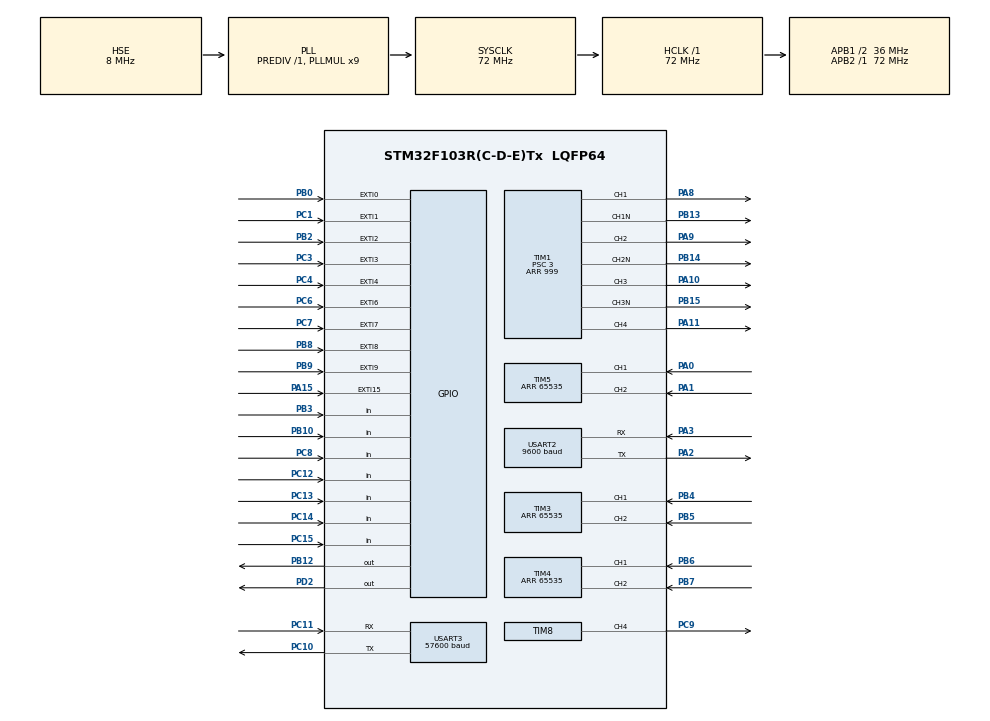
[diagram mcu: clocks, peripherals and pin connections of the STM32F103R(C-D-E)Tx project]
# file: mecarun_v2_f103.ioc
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Dma.Request0=USART2_RX
Dma.Request1=USART2_TX
Dma.Request2=USART3_RX
Dma.USART2_RX.0.Direction=DMA_PERIPH_TO_MEMORY
Dma.USART2_RX.0.Instance=DMA1_Channel6
Dma.USART2_RX.0.MemDataAlignment=DMA_MDATAALIGN_BYTE
Dma.USART2_RX.0.MemInc=DMA_MINC_ENABLE
Dma.USART2_RX.0.Mode=DMA_NORMAL
Dma.USART2_RX.0.PeriphDataAlignment=DMA_PDATAALIGN_BYTE
Dma.USART2_RX.0.PeriphInc=DMA_PINC_DISABLE
Dma.USART2_RX.0.Priority=DMA_PRIORITY_LOW
Dma.USART2_TX.1.Direction=DMA_MEMORY_TO_PERIPH
Dma.USART2_TX.1.Instance=DMA1_Channel7
Dma.USART2_TX.1.MemDataAlignment=DMA_MDATAALIGN_BYTE
Dma.USART2_TX.1.MemInc=DMA_MINC_ENABLE
Dma.USART2_TX.1.Mode=DMA_NORMAL
Dma.USART2_TX.1.PeriphDataAlignment=DMA_PDATAALIGN_BYTE
Dma.USART2_TX.1.PeriphInc=DMA_PINC_DISABLE
Dma.USART2_TX.1.Priority=DMA_PRIORITY_LOW
Dma.USART3_RX.2.Direction=DMA_PERIPH_TO_MEMORY
Dma.USART3_RX.2.Instance=DMA1_Channel3
Dma.USART3_RX.2.MemDataAlignment=DMA_MDATAALIGN_BYTE
Dma.USART3_RX.2.MemInc=DMA_MINC_ENABLE
Dma.USART3_RX.2.Mode=DMA_NORMAL
Dma.USART3_RX.2.PeriphDataAlignment=DMA_PDATAALIGN_BYTE
Dma.USART3_RX.2.PeriphInc=DMA_PINC_DISABLE
Dma.USART3_RX.2.Priority=DMA_PRIORITY_LOW
Mcu.Family=STM32F1
Mcu.Name=STM32F103R(C-D-E)Tx
Mcu.Package=LQFP64
NVIC.DMA1_Channel3_IRQn=true\:0\:0\:false\:false\:true\:false\:true
NVIC.DMA1_Channel6_IRQn=true\:0\:0\:false\:false\:true\:false\:true
NVIC.DMA1_Channel7_IRQn=true\:0\:0\:false\:false\:true\:false\:true
NVIC.EXTI0_IRQn=true\:0\:0\:false\:false\:true\:true\:true
NVIC.EXTI15_10_IRQn=true\:5\:0\:true\:false\:false\:true\:true
NVIC.EXTI1_IRQn=true\:0\:0\:false\:false\:true\:true\:true
NVIC.EXTI2_IRQn=true\:0\:0\:false\:false\:false\:true\:true
NVIC.EXTI3_IRQn=true\:0\:0\:false\:false\:true\:true\:true
NVIC.EXTI4_IRQn=true\:0\:0\:false\:false\:true\:true\:true
NVIC.EXTI9_5_IRQn=true\:0\:0\:false\:false\:true\:true\:true
NVIC.PriorityGroup=NVIC_PRIORITYGROUP_4
PA0-WKUP.Signal=S_TIM5_CH1
PA1.Signal=S_TIM5_CH2
PA10.GPIO_Speed=GPIO_SPEED_FREQ_HIGH
PA10.Signal=S_TIM1_CH3
PA11.GPIO_Speed=GPIO_SPEED_FREQ_HIGH
PA11.Signal=S_TIM1_CH4
PA13.Mode=Serial_Wire
PA13.Signal=SYS_JTMS-SWDIO
PA14.Mode=Serial_Wire
PA14.Signal=SYS_JTCK-SWCLK
PA15.GPIO_ModeDefaultEXTI=GPIO_MODE_IT_RISING_FALLING
PA15.Signal=GPXTI15
PA2.Mode=Asynchronous
PA2.Signal=USART2_TX
PA3.GPIO_PuPd=GPIO_PULLUP
PA3.Mode=Asynchronous
PA3.Signal=USART2_RX
PA8.GPIO_Speed=GPIO_SPEED_FREQ_HIGH
PA8.Signal=S_TIM1_CH1
PA9.GPIO_Speed=GPIO_SPEED_FREQ_HIGH
PA9.Signal=S_TIM1_CH2
PB0.Signal=GPXTI0
PB10.Signal=GPIO_Input
PB12.PinState=GPIO_PIN_RESET
PB12.Signal=GPIO_Output
PB13.GPIO_Speed=GPIO_SPEED_FREQ_HIGH
PB13.Mode=PWM Generation1 CH1 CH1N
PB13.Signal=TIM1_CH1N
PB14.GPIO_Speed=GPIO_SPEED_FREQ_HIGH
PB14.Mode=PWM Generation2 CH2 CH2N
PB14.Signal=TIM1_CH2N
PB15.GPIO_Speed=GPIO_SPEED_FREQ_HIGH
PB15.Mode=PWM Generation3 CH3 CH3N
PB15.Signal=TIM1_CH3N
PB2.GPIO_ModeDefaultEXTI=GPIO_MODE_IT_RISING_FALLING
PB2.Signal=GPXTI2
PB3.Signal=GPIO_Input
PB4.Signal=S_TIM3_CH1
PB5.Signal=S_TIM3_CH2
PB6.Signal=S_TIM4_CH1
PB7.Signal=S_TIM4_CH2
PB8.Signal=GPXTI8
PB9.Signal=GPXTI9
PC1.Signal=GPXTI1
PC10.Mode=Asynchronous
PC10.Signal=USART3_TX
PC11.Mode=Asynchronous
PC11.Signal=USART3_RX
PC12.Signal=GPIO_Input
PC13-TAMPER-RTC.Signal=GPIO_Input
PC14-OSC32_IN.Signal=GPIO_Input
PC15-OSC32_OUT.Signal=GPIO_Input
PC3.Signal=GPXTI3
PC4.Signal=GPXTI4
PC6.Signal=GPXTI6
PC7.Signal=GPXTI7
PC8.Signal=GPIO_Input
PC9.Signal=S_TIM8_CH4
PD0-OSC_IN.Mode=HSE-External-Oscillator
PD0-OSC_IN.Signal=RCC_OSC_IN
PD1-OSC_OUT.Mode=HSE-External-Oscillator
PD1-OSC_OUT.Signal=RCC_OSC_OUT
PD2.Signal=GPIO_Output
ProjectManager.HeapSize=0x200
ProjectManager.StackSize=0x400
ProjectManager.TargetToolchain=MDK-ARM V5
RCC.ADCPresc=RCC_ADCPCLK2_DIV6
RCC.AHBFreq_Value=72000000
RCC.APB1CLKDivider=RCC_HCLK_DIV2
RCC.APB1Freq_Value=36000000
RCC.APB1TimFreq_Value=72000000
RCC.APB2Freq_Value=72000000
RCC.APB2TimFreq_Value=72000000
RCC.HCLKFreq_Value=72000000
RCC.PLLMUL=RCC_PLL_MUL9
RCC.PLLSourceVirtual=RCC_PLLSOURCE_HSE
RCC.SYSCLKFreq_VALUE=72000000
RCC.SYSCLKSource=RCC_SYSCLKSOURCE_PLLCLK
RCC.USBFreq_Value=72000000
SH.S_TIM1_CH1.0=TIM1_CH1,PWM Generation1 CH1 CH1N
SH.S_TIM1_CH2.0=TIM1_CH2,PWM Generation2 CH2 CH2N
SH.S_TIM1_CH3.0=TIM1_CH3,PWM Generation3 CH3 CH3N
SH.S_TIM1_CH4.0=TIM1_CH4,PWM Generation4 CH4
SH.S_TIM3_CH1.0=TIM3_CH1,Encoder_Interface
SH.S_TIM3_CH2.0=TIM3_CH2,Encoder_Interface
SH.S_TIM4_CH1.0=TIM4_CH1,Encoder_Interface
SH.S_TIM4_CH2.0=TIM4_CH2,Encoder_Interface
SH.S_TIM5_CH1.0=TIM5_CH1,Encoder_Interface
SH.S_TIM5_CH2.0=TIM5_CH2,Encoder_Interface
SH.S_TIM8_CH4.0=TIM8_CH4,PWM Generation4 CH4
TIM1.AutoReloadPreload=TIM_AUTORELOAD_PRELOAD_ENABLE
TIM1.Channel-PWM\ Generation1\ CH1\ CH1N=TIM_CHANNEL_1
TIM1.Channel-PWM\ Generation2\ CH2\ CH2N=TIM_CHANNEL_2
TIM1.Channel-PWM\ Generation3\ CH3\ CH3N=TIM_CHANNEL_3
TIM1.Channel-PWM\ Generation4\ CH4=TIM_CHANNEL_4
TIM1.ClockDivision=TIM_CLOCKDIVISION_DIV1
TIM1.OCIdleState_1=TIM_OCIDLESTATE_SET
TIM1.OCIdleState_2=TIM_OCIDLESTATE_SET
TIM1.OCIdleState_3=TIM_OCIDLESTATE_SET
TIM1.OCIdleState_4=TIM_OCIDLESTATE_SET
TIM1.OCNIdleState_1=TIM_OCNIDLESTATE_SET
TIM1.OCNIdleState_2=TIM_OCNIDLESTATE_SET
TIM1.OCNIdleState_3=TIM_OCNIDLESTATE_SET
TIM1.OCNPolarity_1=TIM_OCNPOLARITY_LOW
TIM1.OCNPolarity_2=TIM_OCNPOLARITY_LOW
TIM1.OCNPolarity_3=TIM_OCNPOLARITY_LOW
TIM1.OCPolarity_1=TIM_OCPOLARITY_HIGH
TIM1.OCPolarity_3=TIM_OCPOLARITY_HIGH
TIM1.Period=999
TIM1.Prescaler=3
TIM2.AutoReloadPreload=TIM_AUTORELOAD_PRELOAD_ENABLE
TIM2.ClockDivision=TIM_CLOCKDIVISION_DIV1
TIM2.Period=19999
TIM2.Prescaler=71
TIM3.EncoderMode=TIM_ENCODERMODE_TI12
TIM3.Period=65535
TIM4.EncoderMode=TIM_ENCODERMODE_TI12
TIM4.Period=65535
TIM5.EncoderMode=TIM_ENCODERMODE_TI12
TIM5.Period=65535
TIM6.Period=65535
TIM6.Prescaler=71
TIM8.AutoReloadPreload=TIM_AUTORELOAD_PRELOAD_ENABLE
TIM8.Channel-PWM\ Generation4\ CH4=TIM_CHANNEL_4
TIM8.ClockDivision=TIM_CLOCKDIVISION_DIV1
TIM8.Period=19999
TIM8.Prescaler=71
TIM8.Pulse-PWM\ Generation4\ CH4=1500
USART2.BaudRate=9600
USART2.VirtualMode=VM_ASYNC
USART3.BaudRate=57600
USART3.VirtualMode=VM_ASYNC
VP_TIM1_VS_ClockSourceINT.Mode=Internal
VP_TIM2_VS_ClockSourceINT.Mode=Internal
VP_TIM6_VS_ClockSourceINT.Mode=Enable_Timer
VP_TIM8_VS_ClockSourceINT.Mode=Internal
board=custom

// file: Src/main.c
/* USER CODE BEGIN Header */
/**
  ******************************************************************************
  * @file           : main.c
  * @brief          : Main program body
  ******************************************************************************
  ** This notice applies to any and all portions of this file
  * that are not between comment pairs USER CODE BEGIN and
  * USER CODE END. Other portions of this file, whether
  * inserted by the user or by software development tools
  * are owned by their respective copyright owners.
  *
  * COPYRIGHT(c) 2019 STMicroelectronics
  *
  * Redistribution and use in source and binary forms, with or without modification,
  * are permitted provided that the following conditions are met:
  *   1. Redistributions of source code must retain the above copyright notice,
  *      this list of conditions and the following disclaimer.
  *   2. Redistributions in binary form must reproduce the above copyright notice,
  *      this list of conditions and the following disclaimer in the documentation
  *      and/or other materials provided with the distribution.
  *   3. Neither the name of STMicroelectronics nor the names of its contributors
  *      may be used to endorse or promote products derived from this software
  *      without specific prior written permission.
  *
  * THIS SOFTWARE IS PROVIDED BY THE COPYRIGHT HOLDERS AND CONTRIBUTORS "AS IS"
  * AND ANY EXPRESS OR IMPLIED WARRANTIES, INCLUDING, BUT NOT LIMITED TO, THE
  * IMPLIED WARRANTIES OF MERCHANTABILITY AND FITNESS FOR A PARTICULAR PURPOSE ARE
  * DISCLAIMED. IN NO EVENT SHALL THE COPYRIGHT HOLDER OR CONTRIBUTORS BE LIABLE
  * FOR ANY DIRECT, INDIRECT, INCIDENTAL, SPECIAL, EXEMPLARY, OR CONSEQUENTIAL
  * DAMAGES (INCLUDING, BUT NOT LIMITED TO, PROCUREMENT OF SUBSTITUTE GOODS OR
  * SERVICES; LOSS OF USE, DATA, OR PROFITS; OR BUSINESS INTERRUPTION) HOWEVER
  * CAUSED AND ON ANY THEORY OF LIABILITY, WHETHER IN CONTRACT, STRICT LIABILITY,
  * OR TORT (INCLUDING NEGLIGENCE OR OTHERWISE) ARISING IN ANY WAY OUT OF THE USE
  * OF THIS SOFTWARE, EVEN if ADVISED OF THE POSSIBILITY OF SUCH DAMAGE.
  *
  ******************************************************************************
  */
/* USER CODE END Header */

#include "main.h"

/* USER CODE BEGIN Includes */
#include "led.h"
#include "motor.h"
//#include "ps2.h"
#include "mecanum.h"
//#include "ultrasonic.h"
//#include "oled.h"
#include "bluetooth.h"
//#include "battery.h"
#include "servo.h"
//#include "mpu9250.h"
#include "config.h"
#include "math.h"
#include "maze_pathfinding.h"
#include <stdio.h>
#include <stdlib.h>

/* USER CODE END Includes */

TIM_HandleTypeDef htim2;
TIM_HandleTypeDef htim3;
TIM_HandleTypeDef htim4;
TIM_HandleTypeDef htim5;
TIM_HandleTypeDef htim6;
TIM_HandleTypeDef htim8;

UART_HandleTypeDef huart2;
UART_HandleTypeDef huart3;
DMA_HandleTypeDef hdma_usart2_rx;
DMA_HandleTypeDef hdma_usart2_tx;
DMA_HandleTypeDef hdma_usart3_rx;

/* USER CODE BEGIN PV */
/* Private variables ---------------------------------------------------------*/
/*use global variables for easier online debug*/
extern uint8_t data_cnt;
mt_ctrltype common_mt_ctrl = {0,0,0,2};
pidtype motors[4]={{0,0,0,0,0},{0,0,0,0,0},{0,0,0,0,0},{0,0,0,0,0}};
speed3axistype speed_xyr={0,0,0,0};
gameinfo info={0,0,0,0,0,0,0,0,0,0,0,0,0,0,0,0,0,0};
//servotype servos={1500,1500,800,1700};

int16_t inityaw = 0;
char state = 0;
int8_t move_en = 0;
uint32_t newtime = 0;
char find_left = 0, find_right = 0, find_left_f = 0, find_right_f = 0, find_left_b = 0, find_right_b = 0, find_front = 0, find_back = 0;
//迷宫内当前格点坐标
int8_t big_x = 0;
int8_t big_y = 0;
//uint8_t debugpid = 0;

/* USER CODE END PV */

void SystemClock_Config(void);
static void MX_GPIO_Init(void);
static void MX_DMA_Init(void);
static void MX_TIM5_Init(void);
static void MX_TIM1_Init(void);
static void MX_TIM4_Init(void);
static void MX_TIM3_Init(void);
static void MX_TIM6_Init(void);
static void MX_TIM2_Init(void);
static void MX_TIM8_Init(void);
static void MX_USART2_UART_Init(void);
static void MX_USART3_UART_Init(void);
/* USER CODE BEGIN PFP */
/* Private function prototypes -----------------------------------------------*/

/* USER CODE END PFP */

/* USER CODE BEGIN 0 */

//delay微秒
/*
static void uDelay(uint32_t t)
{
	uint32_t i;
	for(i=0;i<t;++i)
		__nop();
}
*/
void clear_all_irs(){find_left = 0;find_right = 0;find_left_f = 0;find_right_f = 0;find_left_b = 0;find_right_b = 0;find_front = 0;find_back = 0;}
void clear_all_irs_except_fb(){find_left = 0;find_right = 0;find_left_f = 0;find_right_f = 0;find_left_b = 0;find_right_b = 0;}
void clear_all_irs_except_lr(){find_left_f = 0;find_right_f = 0;find_left_b = 0;find_right_b = 0;find_front = 0;find_back = 0;}
//void clear_all_irs_except_f(){find_left = 0;find_right = 0;find_left_b = 0;find_right_b = 0;find_front = 0;find_back = 0;}
//void clear_all_irs_except_b(){find_left = 0;find_right = 0;find_left_f = 0;find_right_f = 0;find_front = 0;find_back = 0;}
//void clear_all_irs_except_l(){find_left = 0;find_right = 0;find_right_f = 0;find_right_b = 0;find_front = 0;find_back = 0;}
//void clear_all_irs_except_r(){find_left = 0;find_right = 0;find_left_f = 0;find_left_b = 0;find_front = 0;find_back = 0;}
//void clear_fb(){find_front = 0;find_back = 0;}
//void clear_lr(){find_left = 0;find_right = 0;}
//计算角度差，范围-1799~1800
int16_t diffyaw(int16_t yawp,int16_t yawn)
{
	int16_t ans = yawn - yawp;
	if (ans >= 1800) ans -= 3600;
	else if (ans < -1800) ans += 3600;
	return ans;
}
//计算到目标绝对角度
int16_t getangle(int16_t carx,int16_t cary,int16_t targetx,int16_t targety)
{
	return 572.96*atan2(targety-cary, targetx-carx);
}
//计算到目标距离
int16_t getdist(int16_t carx,int16_t cary,int16_t targetx,int16_t targety)
{
	return sqrt((targetx-carx)*(targetx-carx)+(targety-cary)*(targety-cary));
}

/* USER CODE END 0 */

int main(void)
{
  /* USER CODE BEGIN 1 */

	#define PRINT_PERIOD 500;
	uint32_t time_print = 100;
  /* USER CODE END 1 */

  /* MCU Configuration--------------------------------------------------------*/

  /* Reset of all peripherals, Initializes the Flash interface and the Systick. */
  HAL_Init();

  /* Configure the system clock */
  SystemClock_Config();

  /* Initialize all configured peripherals */
  MX_GPIO_Init();
  MX_DMA_Init();
  MX_TIM5_Init();
  MX_TIM1_Init();
  MX_TIM4_Init();
  MX_TIM3_Init();
  MX_TIM6_Init();
  MX_TIM2_Init();
  MX_TIM8_Init();
  MX_USART2_UART_Init();
  MX_USART3_UART_Init();
  /* USER CODE BEGIN 2 */

	Set_blink(2,1000);//ms
	user_Motor_Init();
	Motor_unlock(&common_mt_ctrl);

	#if PID_EN == 1
	//Motor_PID_Enable(&common_mt_ctrl,motors,1.045, 0.09, 0);
	Motor_PID_Enable(&common_mt_ctrl,motors,1.2, 0.10, 0);
	#endif

	user_Servo_Init();
	//Set_Servo(3,600);
	#if BALLMODE==1
	Set_Servo(4,1000);
	#else
	Set_Servo(4,0);
	#endif

	//主状态机
	#define IDLE 0
	#define UP_FORWARD 1
	#define UP_TURN 2
	#define CV_FORWARD 11
	#define CV_STOPSOON 13
	#define CV_TURNLEFT 14
	#define CV_TURNRIGHT 15
	#define CV_TURNBACK 16
	#define CV_LEFT 17
	#define CV_RIGHT 18
	#define CV_BACK 19
	#define BLIND_FORWARD 21
	state = IDLE;

	//迷宫内小车方向
	#define UP 1
	#define LEFT 2
	#define DOWN 3
	#define RIGHT 4
	int8_t dir = UP;

	//红外传感器引脚 PORT C
	#define IR_LEFT_F GPIO_PIN_12
	#define IR_RIGHT_F GPIO_PIN_13
	#define IR_LEFT_B GPIO_PIN_8
	#define IR_RIGHT_B GPIO_PIN_10	//PORT B,NOT C!!!
	#define IR_BACK GPIO_PIN_15
	#define IR_FRONT GPIO_PIN_14

	//小红外 PORT C
	#define ir_left_f GPIO_PIN_7
	#define ir_right_f GPIO_PIN_6
	#define ir_left GPIO_PIN_4
	#define ir_right GPIO_PIN_3
	#define ir_front GPIO_PIN_9 //PORT B
	#define ir_back GPIO_PIN_8 //PORT B
	#define ir_left_b GPIO_PIN_1
	#define ir_right_b GPIO_PIN_0 //PORT B

	//迷宫内行进速度、比例系数、90度转向实际大小
	#define SPEED_FORWARD 1300
	#define SPEED_FORWARD_SLOW 300
	#define SPEED_TURN 1200
	#define SPEED_TURN_SLOW 500
	#define SPEED_LR 1000
	#define SPEED_LR_SLOW 300
	#define SPEED_BACK 1300
	#define SPEED_BACK_SLOW 300
	#define KP_X 4
	#define KP_X1 5
	#define KP_YAW 2.5
	#define KD_YAW 6
	#define YAW_PERMIT 120
	#define TURN_SLOW_YAW 500
	#define TURN_STOP_YAW 800
	#define SPEED_CORR 900
	#define SPEED_FORWARD_BALL 800

	//外面没有动态规划，可以写死
	#if BALLMODE == 1
	uint16_t target_list [20][2] = {{42, 18}, {44, 38}, {22, 52}, {24, 244}, {19, 260}, {20, 192}, {38, 190}, {234, 39}, {234, 19}, {48, 18}, {24, 18}, {15, 18}};
	#else
	//uint16_t target_list [20][2] = {{257, 237},{240, 235},{227, 258},{93, 260},{93, 240}};
	uint16_t target_list [20][2] = {{262, 237},{240, 235},{240, 104},{230, 103}};
	#endif
	//正走还是倒车
	char reverse = 0;
	//当前走到了哪个点
	char stage = 0;
	char nextstate = 0;

	//当前目标点坐标
	uint16_t TARGETX = 0;
	uint16_t TARGETY = 0;

	//角度和距离临时变量
	int16_t dst = 0;
	int16_t dy = 0;
	int16_t tempyaw = 0;
	int16_t yaw_last = 0;
	int16_t yaw_diff = 0;
	int16_t yaw_err = 0;
	//uint8_t cvangle_last;

	//连续看到横线次数
	unsigned char continous = 0;
	char slowdown = 0;
	char preslowdown = 0;
	int8_t rand = 0;
	char noslowdown = 0;
	char stopped = 0;
	//出迷宫
	char arrived = 0;
	int anti = 0;
	int anti1 = 0;

	#if CVDEBUG == 1
	char states[] = {CV_FORWARD, CV_LEFT, CV_BACK, CV_RIGHT, CV_LEFT, CV_RIGHT, CV_FORWARD, CV_BACK, CV_TURNLEFT, CV_TURNRIGHT, CV_TURNBACK, CV_LEFT, CV_TURNBACK, CV_BACK};
	char statedebug = 1;
	#endif
  /* USER CODE END 2 */

  /* Infinite loop */
  while (1)
  {

    /* USER CODE BEGIN 3 */
		//接收蓝牙和其他数据
		BT_task(&common_mt_ctrl,motors,&speed_xyr);
		data_task(&info);
		if (HAL_GetTick() >= time_print && move_en != 1)
		{
			#if CVDEBUG == 1
			printf("debugstage:%d\n", statedebug);
			#endif
			printf("mode:%d\n", BALLMODE);
			printf("state:%d %d %d\n",info.renewed,move_en,state);
			//printf("1X:%d,1Y:%d\n",info.P1BX,info.P1BY);
			//printf("2X:%d,2Y:%d\n",info.P2BX,info.P2BY);
			printf("X:%d,Y:%d\n",info.X,info.Y);
			printf("bigX:%d,bigY:%d\n",big_x,big_y);
			printf("yaw:%d %d\n",info.yaw,yaw_diff);
			//printf("dir:%d\n",dir);
			printf("cv:%d %d %d %d\n",info.cvxf,info.cvxb,info.cvxl,info.cvxr);
			//printf("cvp:%d %d %d %d\n",info.cvxpos,info.cvangle,info.cvxpos1,info.cvangle1);
			printf("t:%d\n",HAL_GetTick() - newtime);
			printf("%d%d%d%d%d%d\n",HAL_GPIO_ReadPin(GPIOC,IR_LEFT_B),HAL_GPIO_ReadPin(GPIOC,IR_LEFT_F),HAL_GPIO_ReadPin(GPIOC,IR_FRONT),HAL_GPIO_ReadPin(GPIOC,IR_RIGHT_F),HAL_GPIO_ReadPin(GPIOB,IR_RIGHT_B),HAL_GPIO_ReadPin(GPIOC,IR_BACK));
			printf("%d%d%d%d%d%d%d%d\n",HAL_GPIO_ReadPin(GPIOC,ir_left),HAL_GPIO_ReadPin(GPIOC,ir_left_f),HAL_GPIO_ReadPin(GPIOB,ir_front),HAL_GPIO_ReadPin(GPIOC,ir_right_f),HAL_GPIO_ReadPin(GPIOC,ir_right),HAL_GPIO_ReadPin(GPIOB,ir_right_b),HAL_GPIO_ReadPin(GPIOB,ir_back),HAL_GPIO_ReadPin(GPIOC,ir_left_b));
			time_print = HAL_GetTick() + PRINT_PERIOD;
		}
		if (info.renewed && info.matchstate && (move_en == -1)) move_en = 1;
		//else move_en = 0;
		//20ms更新一次
		if(info.renewed && move_en == 1)
		{
			#if CVDEBUG == 1
			if (statedebug > 14) statedebug = 1;
			//printf("%d ",state);
			#endif
			//printf("%d ",state);
			yaw_diff = diffyaw(yaw_last, info.yaw);
			yaw_last = info.yaw;
			if (dir == UP) yaw_err = diffyaw(900, info.yaw);
			else if (dir == RIGHT) yaw_err = info.yaw;
			else if (dir == DOWN) yaw_err = diffyaw(-900, info.yaw);
			else if (dir == LEFT) yaw_err = diffyaw(1800, info.yaw);
			speed_xyr.cal_speed = 1;
			switch(state)
			{
				//初始状态
				case IDLE:
					#if BALLMODE == 1
					inityaw = info.yaw;
					#else
					inityaw = info.yaw + 900;
					if (inityaw > 1800) inityaw -= 3600;
					#endif
					state = UP_TURN;
					TARGETX = target_list[stage][0];
					TARGETY = target_list[stage][1];
					#if CVDEBUG == 1
					state = CV_FORWARD;
					clear_all_irs();
					dir = RIGHT;
					printf("only once\n");
					#endif
				break;
				//有上位机，转向，准备前往下一点
				case UP_TURN:
					tempyaw = getangle(info.X, info.Y, TARGETX, TARGETY);
					dy = diffyaw(tempyaw, info.yaw);
					if (reverse) dy = diffyaw(1800, dy);
					dst = getdist(info.X, info.Y, TARGETX, TARGETY);
					speed_xyr.x = 0;
					speed_xyr.y = 0;
					if (TARGETX == 240 && TARGETY == 235)
					{
						state = UP_FORWARD;
						break;
					}
					if (dy > 400) speed_xyr.r = 800;
					else if (dy < -400) speed_xyr.r = -800;
					else if (dy > 60 || dy < -60) speed_xyr.r = 2*dy;
					else state = UP_FORWARD;
				break;
				//前往下一点
				case UP_FORWARD:
					tempyaw = getangle(info.X, info.Y, TARGETX, TARGETY);
					dy = diffyaw(tempyaw, info.yaw);
					if (reverse) dy = diffyaw(1800, dy);
					dst = getdist(info.X, info.Y, TARGETX, TARGETY);
					if (dst > 40 && dy < 600 && dy > -600)
					{
						speed_xyr.x = 1200*sin(dy/572.96);
						speed_xyr.y = 1200*cos(dy/572.96);
						speed_xyr.r = 0;
					}
					else if (dst > 40)
					{
						state = UP_TURN;
					}
					else if (dst > 10)
					{
						speed_xyr.x = 30*dst*sin(dy/572.96);
						speed_xyr.y = 30*dst*cos(dy/572.96);
						speed_xyr.r = 0;
					}
					else if (dst > 4)
					{
						speed_xyr.x = 30*dst*sin(dy/572.96);
						speed_xyr.y = 30*dst*cos(dy/572.96);
						speed_xyr.r = 0;
					}
					else
					{
						state = UP_TURN;
						stage++;
						//倒车去小球位置，放钓鱼竿
						//if (TARGETX==10 && TARGETY==194)
						if (TARGETX==44 && TARGETY==38)
						{
							reverse = 1;
						}
						else if (TARGETX==22 && TARGETY==52)
						{
							Set_Servo(4,1400);
						}
						//抓完球恢复正着走，收钓鱼竿
						else if (TARGETX==19 && TARGETY==260)
						{
							reverse = 0;
							Set_Servo(4,1000);
						}
						//进迷宫
						else if (TARGETX==38 && TARGETY==190)
						{
							state = CV_FORWARD;
							dir = RIGHT;
							big_x = -1;
							big_y = 4;
							ClearWalls();
							clear_all_irs();
							preslowdown = 1;
						}
						else if (TARGETX==93 && TARGETY==240)
						{
							state = CV_FORWARD;
							dir = DOWN;
							big_x = 1;
							big_y = 6;
							ClearWalls();
							clear_all_irs();
							preslowdown = 1;
						}
						else if (TARGETX==230 && TARGETY==103)
						{
							state = CV_FORWARD;
							dir = LEFT;
							big_x = 6;
							big_y = 1;
							ClearWalls();
							clear_all_irs();
							preslowdown = 1;
						}
						else if (TARGETX==234 && TARGETY==19)
						{
							reverse = 1;
							Set_Servo(4,1000);
						}
						else if (TARGETX==15 && TARGETY==18)
						{
							Set_Servo(4,1400);
							//Set_Servo(3,2400);
							move_en = -3;
						}
						TARGETX = target_list[stage][0];
						TARGETY = target_list[stage][1];
					}
					if (reverse)
					{
						speed_xyr.x = -speed_xyr.x;
						speed_xyr.y = -speed_xyr.y;
					}
				break;
				//正常视觉巡线
				case CV_FORWARD:
					if ((!stopped) && -40 < info.cvxpos && info.cvxpos < 40 && -YAW_PERMIT < yaw_err && yaw_err < YAW_PERMIT)
					{
						#if BALLMODE == 1
						speed_xyr.y = SPEED_FORWARD_BALL;
						#else
						speed_xyr.y = SPEED_FORWARD;
						#endif
						continous++;
						speed_xyr.x = KP_X*info.cvxpos;
						//speed_xyr.r = KP_R*info.cvangle + KD_YAW*yaw_diff;
						speed_xyr.r = KP_YAW*yaw_err + KD_YAW*yaw_diff;
					}
					else
					{
						speed_xyr.y = 0;
						speed_xyr.x = KP_X1*info.cvxpos;
						//speed_xyr.r = KP_R1*info.cvangle;
						speed_xyr.r = KP_YAW*yaw_err + KD_YAW*yaw_diff;
					}
					//speed_xyr.x = KP_X*info.cvxpos;
					//speed_xyr.r = KP_R*info.cvangle;
					if (anti1 > 0){speed_xyr.x = SPEED_CORR;anti1--;}
					else if (anti1 < 0){speed_xyr.x = -SPEED_CORR;anti1++;}

					if ((find_left_b && find_right_b) && (!preslowdown))
					{
						preslowdown = 1;
						//clear_all_irs_except_f();
						clear_all_irs();
					}
					if ((find_left_f && find_right_f && preslowdown) || continous > 100)
					{
						continous = 0;
						clear_all_irs_except_lr();
						state = CV_STOPSOON;

						if (dir==UP) big_y++;
						else if (dir==LEFT) big_x--;
						else if (dir==DOWN) big_y--;
						else if (dir==RIGHT) big_x++;
						#if BIGDEBUG == 1
						printf("bigX:%d,bigY:%d\n",big_x,big_y);
						#endif

						//迷宫寻路
						char leftblock = !(HAL_GPIO_ReadPin(GPIOC,IR_LEFT_F));
						char rightblock = !(HAL_GPIO_ReadPin(GPIOC,IR_RIGHT_F));
						char frontblock = !(HAL_GPIO_ReadPin(GPIOC,IR_FRONT));
						char wallrefresh = (leftblock << 2) + (frontblock << 1) + rightblock;

						#if BALLMODE == 1
						uint8_t decision = PathFinding(dir,big_x + 1,big_y + 1,5,1,wallrefresh);
						#else
						uint8_t decision = PersonFinding(dir,big_x + 1,big_y + 1,info.P1BX + 1,info.P1BY + 1,info.P2BX + 1,info.P2BY + 1,wallrefresh,&noslowdown);
						#endif

						if (decision == 255)
						{
							ClearWalls();
							decision = PersonFinding(dir,big_x + 1,big_y + 1,info.P1BX + 1,info.P1BY + 1,info.P2BX + 1,info.P2BY + 1,wallrefresh,&noslowdown);
						}
						switch(decision){
							case 0://arrived
								if (dir == RIGHT)
								{
									nextstate = CV_TURNRIGHT;
									arrived = 1;
								}
							break;
							default:
								nextstate = decision;
							break;
						}
						#if CVDEBUG==1
						nextstate = states[statedebug];
						statedebug++;
						#endif
						if (nextstate == CV_FORWARD) speed_xyr.y = SPEED_FORWARD;
						else speed_xyr.y = SPEED_FORWARD_SLOW;
					}
				break;
				//看到交叉点，决定下一步怎么走
				case CV_STOPSOON:
					if ((!stopped) && -40 < info.cvxpos && info.cvxpos < 40 && -YAW_PERMIT < yaw_err && yaw_err < YAW_PERMIT)
					{
						if (nextstate == CV_FORWARD) speed_xyr.y = SPEED_FORWARD;
						else speed_xyr.y = SPEED_FORWARD_SLOW;
						continous++;
						speed_xyr.x = KP_X*info.cvxpos;
						//speed_xyr.r = KP_R*info.cvangle + KD_YAW*yaw_diff;
						speed_xyr.r = KP_YAW*yaw_err + KD_YAW*yaw_diff;
					}
					else
					{
						speed_xyr.y = 0;
						speed_xyr.x = KP_X1*info.cvxpos;
						//speed_xyr.r = KP_R1*info.cvangle;
						speed_xyr.r = KP_YAW*yaw_err + KD_YAW*yaw_diff;
					}
					//speed_xyr.x = KP_X*info.cvxpos;
					//speed_xyr.r = KP_R*info.cvangle;

					if ((find_left && find_right) || (find_left_b && find_right_b) || continous > 100)
					{
						clear_all_irs();
						preslowdown = 0;
						continous = 0;
						speed_xyr.x = 0;
						speed_xyr.y = 0;
						speed_xyr.r = 0;
						tempyaw = info.yaw;
						state = nextstate;
						if (nextstate == CV_FORWARD) speed_xyr.y = SPEED_FORWARD;
						else if (state == CV_TURNLEFT || state == CV_TURNRIGHT || state == CV_TURNBACK) speed_xyr.y = 0;
						else {
							speed_xyr.y = -SPEED_CORR;
							anti = 1;
						}
					}
				break;
				//左转
				case CV_TURNLEFT:
					speed_xyr.r = -SPEED_TURN;
					if (diffyaw(tempyaw, info.yaw)>TURN_SLOW_YAW)
						speed_xyr.r = -SPEED_TURN_SLOW;
					if (diffyaw(tempyaw, info.yaw)>TURN_STOP_YAW)
					{
						speed_xyr.r = 0;
						dir++;
						clear_all_irs();
						preslowdown = 0;
						slowdown = 0;
						if (arrived) {state = BLIND_FORWARD;break;}
						else state = CV_FORWARD;
					}
				break;
				//右转
				case CV_TURNRIGHT:
					speed_xyr.r = SPEED_TURN;
					if (diffyaw(tempyaw, info.yaw)<-TURN_SLOW_YAW)
						speed_xyr.r = SPEED_TURN_SLOW;
					if (diffyaw(tempyaw, info.yaw)<-TURN_STOP_YAW)
					{
						speed_xyr.r = 0;
						dir--;
						clear_all_irs();
						preslowdown = 0;
						slowdown = 0;
						if (arrived) {state = BLIND_FORWARD;break;}
						else state = CV_FORWARD;
					}
				break;
				//掉头
				case CV_TURNBACK:
					speed_xyr.r = SPEED_TURN;
					if (diffyaw(tempyaw, info.yaw)< -TURN_SLOW_YAW - 900)
						speed_xyr.r = SPEED_TURN_SLOW;
					if (diffyaw(tempyaw, info.yaw)< -TURN_STOP_YAW - 900 || diffyaw(tempyaw, info.yaw) > 900)
					{
						speed_xyr.r = 0;
						dir += 2;
						clear_all_irs();
						preslowdown = 0;
						slowdown = 0;
						if (arrived) {state = BLIND_FORWARD;break;}
						else state = CV_FORWARD;
					}
				break;
				//左平移
				case CV_LEFT:
					if (find_right_f && find_right_b && (!preslowdown))
					{
						preslowdown = 1;
						//clear_all_irs_except_l();
						clear_all_irs();
					}
					if (find_left_f && find_left_b && preslowdown && (!slowdown))
					{
						slowdown = 1;
						clear_all_irs_except_fb();
					}
					if ((!stopped) && -36 < info.cvxpos1 && info.cvxpos1 < 36 && -YAW_PERMIT < yaw_err && yaw_err < YAW_PERMIT)
					{
						if (slowdown && (!noslowdown)) {speed_xyr.x = -SPEED_LR_SLOW;if (rand == 2) {continous++;rand = 0;} else rand++;}
						else {speed_xyr.x = -SPEED_LR;continous++;}
						speed_xyr.y = KP_X*info.cvxpos1;
						//speed_xyr.r = KP_R*info.cvangle1 + KD_YAW*yaw_diff;
						speed_xyr.r = KP_YAW*yaw_err + KD_YAW*yaw_diff;
					}
					else
					{
						speed_xyr.x = 0;
						speed_xyr.y = KP_X1*info.cvxpos1;
						//speed_xyr.r = KP_R1*info.cvangle1;
						speed_xyr.r = KP_YAW*yaw_err + KD_YAW*yaw_diff;
					}
					//speed_xyr.y = KP_X*info.cvxpos1;
					//speed_xyr.r = KP_R*info.cvangle1;
					if (anti > 0){speed_xyr.y = -SPEED_CORR;anti--;}
					else if (anti < 0){speed_xyr.y = SPEED_CORR;anti++;}

					if ((slowdown && ((find_front && find_back) || (find_right_f && find_right_b))) || continous > 100)
					{
						rand = 0;
						clear_all_irs();
						slowdown = 0;
						preslowdown = 0;
						continous = 0;
						speed_xyr.x = 0;
						speed_xyr.y = 0;
						speed_xyr.r = 0;
						if (dir==UP) big_x--;
						else if (dir==LEFT) big_y--;
						else if (dir==DOWN) big_x++;
						else if (dir==RIGHT) big_y++;
						#if BIGDEBUG == 1
						printf("bigX:%d,bigY:%d\n",big_x,big_y);
						#endif

						//迷宫寻路
						char leftblock = !(HAL_GPIO_ReadPin(GPIOC,IR_LEFT_B));
						char rightblock = 0;
						char frontblock = !HAL_GPIO_ReadPin(GPIOC,IR_FRONT);
						char backblock = !HAL_GPIO_ReadPin(GPIOC,IR_BACK);
						char wallrefresh = (backblock << 3) + (leftblock << 2) + (frontblock << 1) + rightblock;

						uint8_t decision = PersonFinding(dir,big_x + 1,big_y + 1,info.P1BX + 1,info.P1BY + 1,info.P2BX + 1,info.P2BY + 1,wallrefresh,&noslowdown);
						if (decision == 255)
						{
							ClearWalls();
							decision = PersonFinding(dir,big_x + 1,big_y + 1,info.P1BX + 1,info.P1BY + 1,info.P2BX + 1,info.P2BY + 1,wallrefresh,&noslowdown);
						}
						state = decision;
						#if CVDEBUG==1
						state = states[statedebug];
						statedebug++;
						#endif
						//if (noslowdown) continous = 1;
						if (state == CV_LEFT) speed_xyr.x = -SPEED_LR;
						else if (state == CV_TURNLEFT || state == CV_TURNRIGHT || state == CV_TURNBACK) speed_xyr.x = 0;
						else {
							speed_xyr.x = SPEED_CORR;
							anti1 = 1;
						}
					}
				break;
				//右平移
				case CV_RIGHT:
					if (find_left_f && find_left_b && (!preslowdown))
					{
						preslowdown = 1;
						//clear_all_irs_except_r();
						clear_all_irs();
					}
					if (find_right_f && find_right_b && preslowdown && (!slowdown))
					{
						slowdown = 1;
						clear_all_irs_except_fb();
					}
					if ((!stopped) && -36 < info.cvxpos1 && info.cvxpos1 < 36 && -YAW_PERMIT < yaw_err && yaw_err < YAW_PERMIT)
					{
						if (slowdown && (!noslowdown)) {speed_xyr.x = SPEED_LR_SLOW;if (rand == 2) {continous++;rand = 0;} else rand++;}
						else {speed_xyr.x = SPEED_LR;continous++;}
						speed_xyr.y = KP_X*info.cvxpos1;
						//speed_xyr.r = KP_R*info.cvangle1 + KD_YAW*yaw_diff;
						speed_xyr.r = KP_YAW*yaw_err + KD_YAW*yaw_diff;
					}
					else
					{
						speed_xyr.x = 0;
						speed_xyr.y = KP_X1*info.cvxpos1;
						//speed_xyr.r = KP_R1*info.cvangle1;
						speed_xyr.r = KP_YAW*yaw_err + KD_YAW*yaw_diff;
					}
					//speed_xyr.y = KP_X*info.cvxpos1;
					//speed_xyr.r = KP_R*info.cvangle1;
					if (anti > 0){speed_xyr.y = -SPEED_CORR;anti--;}
					else if (anti < 0){speed_xyr.y = SPEED_CORR;anti++;}

					if ((slowdown && ((find_front && find_back) || (find_left_f && find_left_b))) || continous > 100)
					{
						rand = 0;
						clear_all_irs();
						slowdown = 0;
						preslowdown = 0;
						continous = 0;
						speed_xyr.x = 0;
						speed_xyr.y = 0;
						speed_xyr.r = 0;
						if (dir==UP) big_x++;
						else if (dir==LEFT) big_y++;
						else if (dir==DOWN) big_x--;
						else if (dir==RIGHT) big_y--;
						#if BIGDEBUG == 1
						printf("bigX:%d,bigY:%d\n",big_x,big_y);
						#endif

						//迷宫寻路
						char leftblock = 0;
						char rightblock = !(HAL_GPIO_ReadPin(GPIOB,IR_RIGHT_B));
						char frontblock = !HAL_GPIO_ReadPin(GPIOC,IR_FRONT);
						char backblock = !HAL_GPIO_ReadPin(GPIOC,IR_BACK);
						char wallrefresh = (backblock << 3) + (leftblock << 2) + (frontblock << 1) + rightblock;

						uint8_t decision = PersonFinding(dir,big_x + 1,big_y + 1,info.P1BX + 1,info.P1BY + 1,info.P2BX + 1,info.P2BY + 1,wallrefresh,&noslowdown);
						if (decision == 255)
						{
							ClearWalls();
							decision = PersonFinding(dir,big_x + 1,big_y + 1,info.P1BX + 1,info.P1BY + 1,info.P2BX + 1,info.P2BY + 1,wallrefresh,&noslowdown);
						}
						state = decision;
						#if CVDEBUG==1
						state = states[statedebug];
						statedebug++;
						#endif
						//if (noslowdown) continous = 1;
						if (state == CV_RIGHT) speed_xyr.x = SPEED_LR;
						else if (state == CV_TURNLEFT || state == CV_TURNRIGHT || state == CV_TURNBACK) speed_xyr.x = 0;
						else {
							speed_xyr.x = -SPEED_CORR;
							anti1 = -1;
						}
					}
				break;
				//倒车
				case CV_BACK:
					if (find_left_f && find_right_f && (!preslowdown))
					{
						preslowdown = 1;
						//clear_all_irs_except_b();
						clear_all_irs();
					}
					if (find_left_b && find_right_b && preslowdown && (!slowdown))
					{
						slowdown = 1;
						clear_all_irs_except_lr();
					}
					if ((!stopped) && -40 < info.cvxpos && info.cvxpos < 40 && -YAW_PERMIT < yaw_err && yaw_err < YAW_PERMIT)
					{
						#if CVDEBUG == 1
						noslowdown = 0;
						#endif
						if (slowdown && (!noslowdown)) {speed_xyr.y = -SPEED_BACK_SLOW;if (rand == 2) {continous++;rand = 0;} else rand++;}
						else {speed_xyr.y = -SPEED_BACK;continous++;}
						speed_xyr.x = KP_X*info.cvxpos;
						//speed_xyr.r = KP_R*info.cvangle + KD_YAW*yaw_diff;
						speed_xyr.r = KP_YAW*yaw_err + KD_YAW*yaw_diff;
					}
					else
					{
						speed_xyr.y = 0;
						speed_xyr.x = KP_X1*info.cvxpos;
						//speed_xyr.r = KP_R1*info.cvangle;
						speed_xyr.r = KP_YAW*yaw_err + KD_YAW*yaw_diff;
					}
					//speed_xyr.x = KP_X*info.cvxpos;
					//speed_xyr.r = KP_R*info.cvangle;

					if ((slowdown && ((find_left && find_right) || (find_left_f && find_right_f))) || continous > 100)
					{
						clear_all_irs();
						rand = 0;
						continous = 0;
						slowdown = 0;
						preslowdown = 0;
						speed_xyr.x = 0;
						speed_xyr.y = 0;
						speed_xyr.r = 0;
						if (dir==UP) big_y--;
						else if (dir==LEFT) big_x++;
						else if (dir==DOWN) big_y++;
						else if (dir==RIGHT) big_x--;
						#if BIGDEBUG == 1
						printf("bigX:%d,bigY:%d\n",big_x,big_y);
						#endif

						//迷宫寻路
						char leftblock = !(HAL_GPIO_ReadPin(GPIOC,IR_LEFT_B));
						char rightblock = !(HAL_GPIO_ReadPin(GPIOB,IR_RIGHT_B));
						char frontblock = 0;
						char backblock = !HAL_GPIO_ReadPin(GPIOC,IR_BACK);
						char wallrefresh = (backblock << 3) + (leftblock << 2) + (frontblock << 1) + rightblock;

						uint8_t decision = PersonFinding(dir,big_x + 1,big_y + 1,info.P1BX + 1,info.P1BY + 1,info.P2BX + 1,info.P2BY + 1,wallrefresh,&noslowdown);
						if (decision == 255)
						{
							ClearWalls();
							decision = PersonFinding(dir,big_x + 1,big_y + 1,info.P1BX + 1,info.P1BY + 1,info.P2BX + 1,info.P2BY + 1,wallrefresh,&noslowdown);
						}
						state = decision;
						#if CVDEBUG==1
						state = states[statedebug];
						statedebug++;
						#endif
						if (state == CV_BACK) speed_xyr.y = -SPEED_BACK;
						else if (state == CV_TURNLEFT || state == CV_TURNRIGHT || state == CV_TURNBACK) speed_xyr.y = 0;
						else {
							speed_xyr.y = SPEED_CORR;
							anti = -3;
						}
					}
				break;
				//冲出迷宫的最后一步
				case BLIND_FORWARD:
					if (-40 < info.cvxpos && info.cvxpos < 40 && -YAW_PERMIT < yaw_err && yaw_err < YAW_PERMIT) {speed_xyr.y = SPEED_FORWARD;continous++;}
					else speed_xyr.y = 0;
					speed_xyr.x = KP_X*info.cvxpos;
					speed_xyr.r = KP_YAW*yaw_err + KD_YAW*yaw_diff;

					if (continous > 24)
					{
						state = UP_TURN;
						continous = 0;
					}
				break;
				default:
					state = IDLE;
			}
			info.renewed = 0;
			if (dir > 4) dir -= 4;
			else if (dir < 1) dir += 4;
		}
		if(move_en != 1 || (HAL_GetTick() - newtime > 110))
		{
			speed_xyr.cal_speed = 1;
			speed_xyr.x = 0;
			speed_xyr.y = 0;
			speed_xyr.r = 0;
			stopped = 1;
		}
		else stopped = 0;
		if(speed_xyr.cal_speed)
		{
			cal_mecanum(&speed_xyr,&common_mt_ctrl,motors);
			speed_xyr.cal_speed = 0;
		}
		Get_cnt(motors);
		Motor_task(&common_mt_ctrl,motors);
		//Servo_task(&servos);

		#if IWDG_EN == 1
		HAL_IWDG_Refresh(&hiwdg);
		#endif
		//HAL_GPIO_TogglePin(GPIOB,GPIO_PIN_0);//timing debug
  }
  /* USER CODE END 3 */
}

void SystemClock_Config(void)
{
  RCC_OscInitTypeDef RCC_OscInitStruct = {0};
  RCC_ClkInitTypeDef RCC_ClkInitStruct = {0};

  /** Initializes the CPU, AHB and APB busses clocks
  */
  RCC_OscInitStruct.OscillatorType = RCC_OSCILLATORTYPE_HSE;
  RCC_OscInitStruct.HSEState = RCC_HSE_ON;
  RCC_OscInitStruct.HSEPredivValue = RCC_HSE_PREDIV_DIV1;
  RCC_OscInitStruct.HSIState = RCC_HSI_ON;
  RCC_OscInitStruct.PLL.PLLState = RCC_PLL_ON;
  RCC_OscInitStruct.PLL.PLLSource = RCC_PLLSOURCE_HSE;
  RCC_OscInitStruct.PLL.PLLMUL = RCC_PLL_MUL9;
  if (HAL_RCC_OscConfig(&RCC_OscInitStruct) != HAL_OK)
  {
    Error_Handler();
  }
  /** Initializes the CPU, AHB and APB busses clocks
  */
  RCC_ClkInitStruct.ClockType = RCC_CLOCKTYPE_HCLK|RCC_CLOCKTYPE_SYSCLK
                              |RCC_CLOCKTYPE_PCLK1|RCC_CLOCKTYPE_PCLK2;
  RCC_ClkInitStruct.SYSCLKSource = RCC_SYSCLKSOURCE_PLLCLK;
  RCC_ClkInitStruct.AHBCLKDivider = RCC_SYSCLK_DIV1;
  RCC_ClkInitStruct.APB1CLKDivider = RCC_HCLK_DIV2;
  RCC_ClkInitStruct.APB2CLKDivider = RCC_HCLK_DIV1;

  if (HAL_RCC_ClockConfig(&RCC_ClkInitStruct, FLASH_LATENCY_2) != HAL_OK)
  {
    Error_Handler();
  }
}

static void MX_TIM1_Init(void)
{

  LL_TIM_InitTypeDef TIM_InitStruct = {0};
  LL_TIM_OC_InitTypeDef TIM_OC_InitStruct = {0};
  LL_TIM_BDTR_InitTypeDef TIM_BDTRInitStruct = {0};

  LL_GPIO_InitTypeDef GPIO_InitStruct = {0};

  /* Peripheral clock enable */
  LL_APB2_GRP1_EnableClock(LL_APB2_GRP1_PERIPH_TIM1);

  TIM_InitStruct.Prescaler = 3;
  TIM_InitStruct.CounterMode = LL_TIM_COUNTERMODE_UP;
  TIM_InitStruct.Autoreload = 999;
  TIM_InitStruct.ClockDivision = LL_TIM_CLOCKDIVISION_DIV1;
  TIM_InitStruct.RepetitionCounter = 0;
  LL_TIM_Init(TIM1, &TIM_InitStruct);
  LL_TIM_EnableARRPreload(TIM1);
  LL_TIM_SetClockSource(TIM1, LL_TIM_CLOCKSOURCE_INTERNAL);
  LL_TIM_OC_EnablePreload(TIM1, LL_TIM_CHANNEL_CH1);
  TIM_OC_InitStruct.OCMode = LL_TIM_OCMODE_PWM1;
  TIM_OC_InitStruct.OCState = LL_TIM_OCSTATE_DISABLE;
  TIM_OC_InitStruct.OCNState = LL_TIM_OCSTATE_DISABLE;
  TIM_OC_InitStruct.CompareValue = 0;
  TIM_OC_InitStruct.OCPolarity = LL_TIM_OCPOLARITY_HIGH;
  TIM_OC_InitStruct.OCNPolarity = LL_TIM_OCPOLARITY_LOW;
  TIM_OC_InitStruct.OCIdleState = LL_TIM_OCIDLESTATE_HIGH;
  TIM_OC_InitStruct.OCNIdleState = LL_TIM_OCIDLESTATE_HIGH;
  LL_TIM_OC_Init(TIM1, LL_TIM_CHANNEL_CH1, &TIM_OC_InitStruct);
  LL_TIM_OC_DisableFast(TIM1, LL_TIM_CHANNEL_CH1);
  LL_TIM_OC_EnablePreload(TIM1, LL_TIM_CHANNEL_CH2);
  TIM_OC_InitStruct.OCState = LL_TIM_OCSTATE_DISABLE;
  TIM_OC_InitStruct.OCNState = LL_TIM_OCSTATE_DISABLE;
  LL_TIM_OC_Init(TIM1, LL_TIM_CHANNEL_CH2, &TIM_OC_InitStruct);
  LL_TIM_OC_DisableFast(TIM1, LL_TIM_CHANNEL_CH2);
  LL_TIM_OC_EnablePreload(TIM1, LL_TIM_CHANNEL_CH3);
  TIM_OC_InitStruct.OCState = LL_TIM_OCSTATE_DISABLE;
  TIM_OC_InitStruct.OCNState = LL_TIM_OCSTATE_DISABLE;
  LL_TIM_OC_Init(TIM1, LL_TIM_CHANNEL_CH3, &TIM_OC_InitStruct);
  LL_TIM_OC_DisableFast(TIM1, LL_TIM_CHANNEL_CH3);
  LL_TIM_OC_EnablePreload(TIM1, LL_TIM_CHANNEL_CH4);
  TIM_OC_InitStruct.OCState = LL_TIM_OCSTATE_DISABLE;
  TIM_OC_InitStruct.OCNState = LL_TIM_OCSTATE_DISABLE;
  TIM_OC_InitStruct.OCNIdleState = LL_TIM_OCIDLESTATE_LOW;
  LL_TIM_OC_Init(TIM1, LL_TIM_CHANNEL_CH4, &TIM_OC_InitStruct);
  LL_TIM_OC_DisableFast(TIM1, LL_TIM_CHANNEL_CH4);
  LL_TIM_SetTriggerOutput(TIM1, LL_TIM_TRGO_RESET);
  LL_TIM_DisableMasterSlaveMode(TIM1);
  TIM_BDTRInitStruct.OSSRState = LL_TIM_OSSR_DISABLE;
  TIM_BDTRInitStruct.OSSIState = LL_TIM_OSSI_DISABLE;
  TIM_BDTRInitStruct.LockLevel = LL_TIM_LOCKLEVEL_OFF;
  TIM_BDTRInitStruct.DeadTime = 0;
  TIM_BDTRInitStruct.BreakState = LL_TIM_BREAK_DISABLE;
  TIM_BDTRInitStruct.BreakPolarity = LL_TIM_BREAK_POLARITY_HIGH;
  TIM_BDTRInitStruct.AutomaticOutput = LL_TIM_AUTOMATICOUTPUT_DISABLE;
  LL_TIM_BDTR_Init(TIM1, &TIM_BDTRInitStruct);
  LL_APB2_GRP1_EnableClock(LL_APB2_GRP1_PERIPH_GPIOB);
  LL_APB2_GRP1_EnableClock(LL_APB2_GRP1_PERIPH_GPIOA);
  /**TIM1 GPIO Configuration
  PB13   ------> TIM1_CH1N
  PB14   ------> TIM1_CH2N
  PB15   ------> TIM1_CH3N
  PA8   ------> TIM1_CH1
  PA9   ------> TIM1_CH2
  PA10   ------> TIM1_CH3
  PA11   ------> TIM1_CH4
  */
  GPIO_InitStruct.Pin = LL_GPIO_PIN_13|LL_GPIO_PIN_14|LL_GPIO_PIN_15;
  GPIO_InitStruct.Mode = LL_GPIO_MODE_ALTERNATE;
  GPIO_InitStruct.Speed = LL_GPIO_SPEED_FREQ_HIGH;
  GPIO_InitStruct.OutputType = LL_GPIO_OUTPUT_PUSHPULL;
  LL_GPIO_Init(GPIOB, &GPIO_InitStruct);

  GPIO_InitStruct.Pin = LL_GPIO_PIN_8|LL_GPIO_PIN_9|LL_GPIO_PIN_10|LL_GPIO_PIN_11;
  GPIO_InitStruct.Mode = LL_GPIO_MODE_ALTERNATE;
  GPIO_InitStruct.Speed = LL_GPIO_SPEED_FREQ_HIGH;
  GPIO_InitStruct.OutputType = LL_GPIO_OUTPUT_PUSHPULL;
  LL_GPIO_Init(GPIOA, &GPIO_InitStruct);

}

static void MX_TIM2_Init(void)
{

  TIM_ClockConfigTypeDef sClockSourceConfig = {0};
  TIM_MasterConfigTypeDef sMasterConfig = {0};

  htim2.Instance = TIM2;
  htim2.Init.Prescaler = 71;
  htim2.Init.CounterMode = TIM_COUNTERMODE_UP;
  htim2.Init.Period = 19999;
  htim2.Init.ClockDivision = TIM_CLOCKDIVISION_DIV1;
  htim2.Init.AutoReloadPreload = TIM_AUTORELOAD_PRELOAD_ENABLE;
  if (HAL_TIM_Base_Init(&htim2) != HAL_OK)
  {
    Error_Handler();
  }
  sClockSourceConfig.ClockSource = TIM_CLOCKSOURCE_INTERNAL;
  if (HAL_TIM_ConfigClockSource(&htim2, &sClockSourceConfig) != HAL_OK)
  {
    Error_Handler();
  }
  sMasterConfig.MasterOutputTrigger = TIM_TRGO_RESET;
  sMasterConfig.MasterSlaveMode = TIM_MASTERSLAVEMODE_DISABLE;
  if (HAL_TIMEx_MasterConfigSynchronization(&htim2, &sMasterConfig) != HAL_OK)
  {
    Error_Handler();
  }

}

static void MX_TIM3_Init(void)
{

  TIM_Encoder_InitTypeDef sConfig = {0};
  TIM_MasterConfigTypeDef sMasterConfig = {0};

  htim3.Instance = TIM3;
  htim3.Init.Prescaler = 0;
  htim3.Init.CounterMode = TIM_COUNTERMODE_UP;
  htim3.Init.Period = 65535;
  htim3.Init.ClockDivision = TIM_CLOCKDIVISION_DIV1;
  htim3.Init.AutoReloadPreload = TIM_AUTORELOAD_PRELOAD_DISABLE;
  sConfig.EncoderMode = TIM_ENCODERMODE_TI12;
  sConfig.IC1Polarity = TIM_ICPOLARITY_RISING;
  sConfig.IC1Selection = TIM_ICSELECTION_DIRECTTI;
  sConfig.IC1Prescaler = TIM_ICPSC_DIV1;
  sConfig.IC1Filter = 0;
  sConfig.IC2Polarity = TIM_ICPOLARITY_RISING;
  sConfig.IC2Selection = TIM_ICSELECTION_DIRECTTI;
  sConfig.IC2Prescaler = TIM_ICPSC_DIV1;
  sConfig.IC2Filter = 0;
  if (HAL_TIM_Encoder_Init(&htim3, &sConfig) != HAL_OK)
  {
    Error_Handler();
  }
  sMasterConfig.MasterOutputTrigger = TIM_TRGO_RESET;
  sMasterConfig.MasterSlaveMode = TIM_MASTERSLAVEMODE_DISABLE;
  if (HAL_TIMEx_MasterConfigSynchronization(&htim3, &sMasterConfig) != HAL_OK)
  {
    Error_Handler();
  }

}

static void MX_TIM4_Init(void)
{

  TIM_Encoder_InitTypeDef sConfig = {0};
  TIM_MasterConfigTypeDef sMasterConfig = {0};

  htim4.Instance = TIM4;
  htim4.Init.Prescaler = 0;
  htim4.Init.CounterMode = TIM_COUNTERMODE_UP;
  htim4.Init.Period = 65535;
  htim4.Init.ClockDivision = TIM_CLOCKDIVISION_DIV1;
  htim4.Init.AutoReloadPreload = TIM_AUTORELOAD_PRELOAD_DISABLE;
  sConfig.EncoderMode = TIM_ENCODERMODE_TI12;
  sConfig.IC1Polarity = TIM_ICPOLARITY_RISING;
  sConfig.IC1Selection = TIM_ICSELECTION_DIRECTTI;
  sConfig.IC1Prescaler = TIM_ICPSC_DIV1;
  sConfig.IC1Filter = 0;
  sConfig.IC2Polarity = TIM_ICPOLARITY_RISING;
  sConfig.IC2Selection = TIM_ICSELECTION_DIRECTTI;
  sConfig.IC2Prescaler = TIM_ICPSC_DIV1;
  sConfig.IC2Filter = 0;
  if (HAL_TIM_Encoder_Init(&htim4, &sConfig) != HAL_OK)
  {
    Error_Handler();
  }
  sMasterConfig.MasterOutputTrigger = TIM_TRGO_RESET;
  sMasterConfig.MasterSlaveMode = TIM_MASTERSLAVEMODE_DISABLE;
  if (HAL_TIMEx_MasterConfigSynchronization(&htim4, &sMasterConfig) != HAL_OK)
  {
    Error_Handler();
  }

}

static void MX_TIM5_Init(void)
{

  TIM_Encoder_InitTypeDef sConfig = {0};
  TIM_MasterConfigTypeDef sMasterConfig = {0};

  htim5.Instance = TIM5;
  htim5.Init.Prescaler = 0;
  htim5.Init.CounterMode = TIM_COUNTERMODE_UP;
  htim5.Init.Period = 65535;
  htim5.Init.ClockDivision = TIM_CLOCKDIVISION_DIV1;
  htim5.Init.AutoReloadPreload = TIM_AUTORELOAD_PRELOAD_DISABLE;
  sConfig.EncoderMode = TIM_ENCODERMODE_TI12;
  sConfig.IC1Polarity = TIM_ICPOLARITY_RISING;
  sConfig.IC1Selection = TIM_ICSELECTION_DIRECTTI;
  sConfig.IC1Prescaler = TIM_ICPSC_DIV1;
  sConfig.IC1Filter = 0;
  sConfig.IC2Polarity = TIM_ICPOLARITY_RISING;
  sConfig.IC2Selection = TIM_ICSELECTION_DIRECTTI;
  sConfig.IC2Prescaler = TIM_ICPSC_DIV1;
  sConfig.IC2Filter = 0;
  if (HAL_TIM_Encoder_Init(&htim5, &sConfig) != HAL_OK)
  {
    Error_Handler();
  }
  sMasterConfig.MasterOutputTrigger = TIM_TRGO_RESET;
  sMasterConfig.MasterSlaveMode = TIM_MASTERSLAVEMODE_DISABLE;
  if (HAL_TIMEx_MasterConfigSynchronization(&htim5, &sMasterConfig) != HAL_OK)
  {
    Error_Handler();
  }

}

static void MX_TIM6_Init(void)
{

  TIM_MasterConfigTypeDef sMasterConfig = {0};

  htim6.Instance = TIM6;
  htim6.Init.Prescaler = 71;
  htim6.Init.CounterMode = TIM_COUNTERMODE_UP;
  htim6.Init.Period = 65535;
  htim6.Init.AutoReloadPreload = TIM_AUTORELOAD_PRELOAD_DISABLE;
  if (HAL_TIM_Base_Init(&htim6) != HAL_OK)
  {
    Error_Handler();
  }
  sMasterConfig.MasterOutputTrigger = TIM_TRGO_RESET;
  sMasterConfig.MasterSlaveMode = TIM_MASTERSLAVEMODE_DISABLE;
  if (HAL_TIMEx_MasterConfigSynchronization(&htim6, &sMasterConfig) != HAL_OK)
  {
    Error_Handler();
  }

}

static void MX_TIM8_Init(void)
{

  TIM_ClockConfigTypeDef sClockSourceConfig = {0};
  TIM_MasterConfigTypeDef sMasterConfig = {0};
  TIM_OC_InitTypeDef sConfigOC = {0};
  TIM_BreakDeadTimeConfigTypeDef sBreakDeadTimeConfig = {0};

  htim8.Instance = TIM8;
  htim8.Init.Prescaler = 71;
  htim8.Init.CounterMode = TIM_COUNTERMODE_UP;
  htim8.Init.Period = 19999;
  htim8.Init.ClockDivision = TIM_CLOCKDIVISION_DIV1;
  htim8.Init.RepetitionCounter = 0;
  htim8.Init.AutoReloadPreload = TIM_AUTORELOAD_PRELOAD_ENABLE;
  if (HAL_TIM_Base_Init(&htim8) != HAL_OK)
  {
    Error_Handler();
  }
  sClockSourceConfig.ClockSource = TIM_CLOCKSOURCE_INTERNAL;
  if (HAL_TIM_ConfigClockSource(&htim8, &sClockSourceConfig) != HAL_OK)
  {
    Error_Handler();
  }
  if (HAL_TIM_PWM_Init(&htim8) != HAL_OK)
  {
    Error_Handler();
  }
  sMasterConfig.MasterOutputTrigger = TIM_TRGO_RESET;
  sMasterConfig.MasterSlaveMode = TIM_MASTERSLAVEMODE_DISABLE;
  if (HAL_TIMEx_MasterConfigSynchronization(&htim8, &sMasterConfig) != HAL_OK)
  {
    Error_Handler();
  }
  sConfigOC.OCMode = TIM_OCMODE_PWM1;
  sConfigOC.Pulse = 1500;
  sConfigOC.OCPolarity = TIM_OCPOLARITY_HIGH;
  sConfigOC.OCFastMode = TIM_OCFAST_DISABLE;
  sConfigOC.OCIdleState = TIM_OCIDLESTATE_RESET;
  sConfigOC.OCNIdleState = TIM_OCNIDLESTATE_RESET;
  if (HAL_TIM_PWM_ConfigChannel(&htim8, &sConfigOC, TIM_CHANNEL_4) != HAL_OK)
  {
    Error_Handler();
  }
  sBreakDeadTimeConfig.OffStateRunMode = TIM_OSSR_DISABLE;
  sBreakDeadTimeConfig.OffStateIDLEMode = TIM_OSSI_DISABLE;
  sBreakDeadTimeConfig.LockLevel = TIM_LOCKLEVEL_OFF;
  sBreakDeadTimeConfig.DeadTime = 0;
  sBreakDeadTimeConfig.BreakState = TIM_BREAK_DISABLE;
  sBreakDeadTimeConfig.BreakPolarity = TIM_BREAKPOLARITY_HIGH;
  sBreakDeadTimeConfig.AutomaticOutput = TIM_AUTOMATICOUTPUT_DISABLE;
  if (HAL_TIMEx_ConfigBreakDeadTime(&htim8, &sBreakDeadTimeConfig) != HAL_OK)
  {
    Error_Handler();
  }
  HAL_TIM_MspPostInit(&htim8);

}

static void MX_USART2_UART_Init(void)
{

  huart2.Instance = USART2;
  huart2.Init.BaudRate = 9600;
  huart2.Init.WordLength = UART_WORDLENGTH_8B;
  huart2.Init.StopBits = UART_STOPBITS_1;
  huart2.Init.Parity = UART_PARITY_NONE;
  huart2.Init.Mode = UART_MODE_TX_RX;
  huart2.Init.HwFlowCtl = UART_HWCONTROL_NONE;
  huart2.Init.OverSampling = UART_OVERSAMPLING_16;
  if (HAL_UART_Init(&huart2) != HAL_OK)
  {
    Error_Handler();
  }

}

static void MX_USART3_UART_Init(void)
{

  huart3.Instance = USART3;
  huart3.Init.BaudRate = 57600;
  huart3.Init.WordLength = UART_WORDLENGTH_8B;
  huart3.Init.StopBits = UART_STOPBITS_1;
  huart3.Init.Parity = UART_PARITY_NONE;
  huart3.Init.Mode = UART_MODE_TX_RX;
  huart3.Init.HwFlowCtl = UART_HWCONTROL_NONE;
  huart3.Init.OverSampling = UART_OVERSAMPLING_16;
  if (HAL_UART_Init(&huart3) != HAL_OK)
  {
    Error_Handler();
  }

}

static void MX_DMA_Init(void)
{

  /* DMA controller clock enable */
  __HAL_RCC_DMA1_CLK_ENABLE();

  /* DMA interrupt init */
  /* DMA1_Channel3_IRQn interrupt configuration */
  HAL_NVIC_SetPriority(DMA1_Channel3_IRQn, 0, 0);
  HAL_NVIC_EnableIRQ(DMA1_Channel3_IRQn);
  /* DMA1_Channel6_IRQn interrupt configuration */
  HAL_NVIC_SetPriority(DMA1_Channel6_IRQn, 0, 0);
  HAL_NVIC_EnableIRQ(DMA1_Channel6_IRQn);
  /* DMA1_Channel7_IRQn interrupt configuration */
  HAL_NVIC_SetPriority(DMA1_Channel7_IRQn, 0, 0);
  HAL_NVIC_EnableIRQ(DMA1_Channel7_IRQn);

}

static void MX_GPIO_Init(void)
{
  GPIO_InitTypeDef GPIO_InitStruct = {0};

  /* GPIO Ports Clock Enable */
  __HAL_RCC_GPIOC_CLK_ENABLE();
  __HAL_RCC_GPIOD_CLK_ENABLE();
  __HAL_RCC_GPIOA_CLK_ENABLE();
  __HAL_RCC_GPIOB_CLK_ENABLE();

  /*Configure GPIO pin Output Level */
  HAL_GPIO_WritePin(GPIOB, GPIO_PIN_12, GPIO_PIN_RESET);

  /*Configure GPIO pin Output Level */
  HAL_GPIO_WritePin(GPIOD, GPIO_PIN_2, GPIO_PIN_RESET);

  /*Configure GPIO pins : PC13 PC14 PC15 PC8
                           PC12 */
  GPIO_InitStruct.Pin = GPIO_PIN_13|GPIO_PIN_14|GPIO_PIN_15|GPIO_PIN_8
                          |GPIO_PIN_12;
  GPIO_InitStruct.Mode = GPIO_MODE_INPUT;
  GPIO_InitStruct.Pull = GPIO_NOPULL;
  HAL_GPIO_Init(GPIOC, &GPIO_InitStruct);

  /*Configure GPIO pins : PC1 PC3 PC4 PC6
                           PC7 */
  GPIO_InitStruct.Pin = GPIO_PIN_1|GPIO_PIN_3|GPIO_PIN_4|GPIO_PIN_6
                          |GPIO_PIN_7;
  GPIO_InitStruct.Mode = GPIO_MODE_IT_RISING;
  GPIO_InitStruct.Pull = GPIO_NOPULL;
  HAL_GPIO_Init(GPIOC, &GPIO_InitStruct);

  /*Configure GPIO pins : PB0 PB8 PB9 */
  GPIO_InitStruct.Pin = GPIO_PIN_0|GPIO_PIN_8|GPIO_PIN_9;
  GPIO_InitStruct.Mode = GPIO_MODE_IT_RISING;
  GPIO_InitStruct.Pull = GPIO_NOPULL;
  HAL_GPIO_Init(GPIOB, &GPIO_InitStruct);

  /*Configure GPIO pin : PB2 */
  GPIO_InitStruct.Pin = GPIO_PIN_2;
  GPIO_InitStruct.Mode = GPIO_MODE_IT_RISING_FALLING;
  GPIO_InitStruct.Pull = GPIO_NOPULL;
  HAL_GPIO_Init(GPIOB, &GPIO_InitStruct);

  /*Configure GPIO pins : PB10 PB3 */
  GPIO_InitStruct.Pin = GPIO_PIN_10|GPIO_PIN_3;
  GPIO_InitStruct.Mode = GPIO_MODE_INPUT;
  GPIO_InitStruct.Pull = GPIO_NOPULL;
  HAL_GPIO_Init(GPIOB, &GPIO_InitStruct);

  /*Configure GPIO pin : PB12 */
  GPIO_InitStruct.Pin = GPIO_PIN_12;
  GPIO_InitStruct.Mode = GPIO_MODE_OUTPUT_PP;
  GPIO_InitStruct.Pull = GPIO_NOPULL;
  GPIO_InitStruct.Speed = GPIO_SPEED_FREQ_LOW;
  HAL_GPIO_Init(GPIOB, &GPIO_InitStruct);

  /*Configure GPIO pin : PA15 */
  GPIO_InitStruct.Pin = GPIO_PIN_15;
  GPIO_InitStruct.Mode = GPIO_MODE_IT_RISING_FALLING;
  GPIO_InitStruct.Pull = GPIO_NOPULL;
  HAL_GPIO_Init(GPIOA, &GPIO_InitStruct);

  /*Configure GPIO pin : PD2 */
  GPIO_InitStruct.Pin = GPIO_PIN_2;
  GPIO_InitStruct.Mode = GPIO_MODE_OUTPUT_PP;
  GPIO_InitStruct.Pull = GPIO_NOPULL;
  GPIO_InitStruct.Speed = GPIO_SPEED_FREQ_LOW;
  HAL_GPIO_Init(GPIOD, &GPIO_InitStruct);

  /* EXTI interrupt init*/
  HAL_NVIC_SetPriority(EXTI0_IRQn, 0, 0);
  HAL_NVIC_EnableIRQ(EXTI0_IRQn);

  HAL_NVIC_SetPriority(EXTI1_IRQn, 0, 0);
  HAL_NVIC_EnableIRQ(EXTI1_IRQn);

  HAL_NVIC_SetPriority(EXTI2_IRQn, 0, 0);
  HAL_NVIC_EnableIRQ(EXTI2_IRQn);

  HAL_NVIC_SetPriority(EXTI3_IRQn, 0, 0);
  HAL_NVIC_EnableIRQ(EXTI3_IRQn);

  HAL_NVIC_SetPriority(EXTI4_IRQn, 0, 0);
  HAL_NVIC_EnableIRQ(EXTI4_IRQn);

  HAL_NVIC_SetPriority(EXTI9_5_IRQn, 0, 0);
  HAL_NVIC_EnableIRQ(EXTI9_5_IRQn);

  HAL_NVIC_SetPriority(EXTI15_10_IRQn, 5, 0);
  HAL_NVIC_EnableIRQ(EXTI15_10_IRQn);

}

/* USER CODE BEGIN 4 */
void HAL_GPIO_EXTI_Callback(uint16_t GPIO_Pin)
{
  if (GPIO_Pin == ir_left) find_left = 1;
	else if (GPIO_Pin == ir_right) find_right = 1;
	else if (GPIO_Pin == ir_front) find_front = 1;
	else if (GPIO_Pin == ir_back) find_back = 1;
	else if (GPIO_Pin == ir_left_f) find_left_f = 1;
	else if (GPIO_Pin == ir_left_b) find_left_b = 1;
	else if (GPIO_Pin == ir_right_f) find_right_f = 1;
	else if (GPIO_Pin == ir_right_b) find_right_b = 1;
}
/* USER CODE END 4 */

void Error_Handler(void)
{
  while(1)
  {
  }
}

/************************ (C) COPYRIGHT STMicroelectronics *****END OF FILE****/
